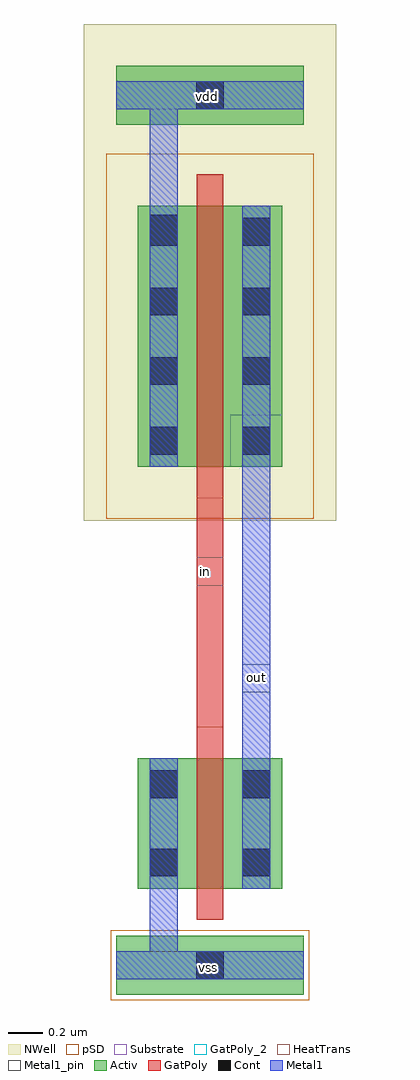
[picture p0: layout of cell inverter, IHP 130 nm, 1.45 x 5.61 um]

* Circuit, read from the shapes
.subckt inverter in out vdd vss
XM1 out in vss vss sg13_lv_nmos w=0.75u l=0.15u
XM2 out in vdd vdd sg13_lv_pmos w=1.5u l=0.15u
.ends

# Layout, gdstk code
import gdstk
lib = gdstk.Library(unit=1e-6, precision=5e-09)
def R(c, l, rs):  # rectangles x0, y0, x1, y1
    for r in rs: c.add(gdstk.rectangle(r[:2], r[2:], *l))
def A(c, l, x, y, w, h, nx, ny, dx, dy):  # array of equal rectangles
    R(c, l, [(x+i*dx, y+j*dy, x+i*dx+w, y+j*dy+h) for i in range(nx) for j in range(ny)])
Activ = (1, 0)
GatPoly = (5, 0)
GatPoly_2 = (5, 2)
Cont = (6, 0)
Metal1 = (8, 0)
Metal1_pin = (8, 2)
pSD = (14, 0)
NWell = (31, 0)
Substrate = (40, 0)
HeatTrans = (51, 0)

pmos_1 = lib.new_cell('pmos$1')
R(pmos_1, Activ, [(0,0,0.3,0.3), (0,0,0.83,1.5), (0.53,0,0.83,0.3)])
R(pmos_1, GatPoly, [(0.34,-0.18,0.49,1.68), (0.34,-0.18,0.49,1.68)])
A(pmos_1, Cont, 0.07, 0.07, 0.16, 0.16, 1, 4, 0, 0.4)
A(pmos_1, Cont, 0.6, 0.07, 0.16, 0.16, 1, 4, 0, 0.4)
R(pmos_1, Metal1, [(0.07,0,0.23,1.5), (0.07,0,0.23,1.5), (0.6,0,0.76,1.5), (0.6,0,0.76,1.5)])
R(pmos_1, pSD, [(-0.18,-0.3,1.01,1.8)])
R(pmos_1, NWell, [(-0.31,-0.31,1.14,1.81)])
R(pmos_1, Substrate, [(0.53,0,0.83,0.3)])
R(pmos_1, HeatTrans, [(0.34,-0.18,0.49,1.68)])
pmos_1.add(gdstk.Label('pmos', (0.415,0.75), layer=63, texttype=0))
pmos_1.add(gdstk.Label('pmos', (0.415,0.75), layer=51, texttype=0))

m1_cont1_pmos = lib.new_cell('M1_Cont1_PMOS')
R(m1_cont1_pmos, Activ, [(-0.535,-0.175,0.545,0.165)])
R(m1_cont1_pmos, Cont, [(-0.075,-0.085,0.085,0.075)])
R(m1_cont1_pmos, Metal1, [(-0.535,-0.085,0.545,0.075)])
R(m1_cont1_pmos, Metal1_pin, [(-0.535,-0.085,0.545,0.075)])
R(m1_cont1_pmos, NWell, [(-0.72,-0.415,0.73,0.405)])

m1_bulkcont1_pmos = lib.new_cell('M1_BulkCont1_PMOS')
r = gdstk.Reference(m1_cont1_pmos, (-0.015,-0.015)); r.repetition = gdstk.Repetition(1, 1, v1=(0,0), v2=(0,0)); m1_bulkcont1_pmos.add(r)

m1_cont1_nmos = lib.new_cell('M1_Cont1_NMOS')
R(m1_cont1_nmos, Activ, [(-0.53,-0.175,0.55,0.165)])
R(m1_cont1_nmos, Cont, [(-0.07,-0.085,0.09,0.075)])
R(m1_cont1_nmos, Metal1, [(-0.53,-0.085,0.55,0.075)])
R(m1_cont1_nmos, Metal1_pin, [(-0.53,-0.085,0.55,0.075)])
R(m1_cont1_nmos, pSD, [(-0.56,-0.205,0.58,0.195)])

m1_bulkcont1_nmos = lib.new_cell('M1_BulkCont1_NMOS')
r = gdstk.Reference(m1_cont1_nmos, (0.005,0.01)); r.repetition = gdstk.Repetition(1, 1, v1=(0,0), v2=(0,0)); m1_bulkcont1_nmos.add(r)

nmos = lib.new_cell('nmos')
R(nmos, Activ, [(0,0,0.3,0.3), (0,0,0.83,0.75), (0.53,0,0.83,0.3)])
R(nmos, GatPoly, [(0.34,-0.18,0.49,0.93)])
R(nmos, GatPoly_2, [(0.34,-0.18,0.49,0.93)])
R(nmos, Cont, [(0.07,0.07,0.23,0.23), (0.6,0.07,0.76,0.23), (0.07,0.52,0.23,0.68), (0.6,0.52,0.76,0.68)])
R(nmos, Metal1, [(0.07,0,0.23,0.75), (0.6,0,0.76,0.75)])
R(nmos, Metal1_pin, [(0.07,0,0.23,0.75), (0.6,0,0.76,0.75)])
R(nmos, HeatTrans, [(0.34,-0.18,0.49,0.93)])
nmos.add(gdstk.Label('nmos', (0.415,0.375), layer=63, texttype=0))
nmos.add(gdstk.Label('nmos', (0.415,0.375), layer=51, texttype=0))

inverter = lib.new_cell('inverter')
R(inverter, GatPoly, [(-0.075,-1.415,0.075,0.58)])
R(inverter, GatPoly_2, [(-0.075,-0.425,0.075,-0.26)])
R(inverter, Cont, [(-0.08,-2.685,0.08,-2.525), (-0.345,1.55,-0.185,1.71), (-0.08,2.315,0.08,2.475)])
R(inverter, Metal1, [(-0.345,-2.685,-0.185,-1.825), (0.185,-1.645,0.345,0.51), (-0.345,1.37,-0.185,2.475)])
R(inverter, Metal1_pin, [(-0.08,-2.685,0.08,-2.525), (0.185,-1.035,0.345,-0.875), (-0.08,2.315,0.08,2.475)])
inverter.add(gdstk.Reference(pmos_1, (-0.415,0.26)))
inverter.add(gdstk.Reference(m1_bulkcont1_pmos, (0.01,2.415)))
inverter.add(gdstk.Reference(m1_bulkcont1_nmos, (-0.015,-2.61)))
inverter.add(gdstk.Reference(nmos, (-0.415,-2.165)))
inverter.add(gdstk.Label('vdd', (-0.015,2.39), layer=8, texttype=2))
inverter.add(gdstk.Label('vss', (-0.01,-2.62), layer=8, texttype=2))
inverter.add(gdstk.Label('out', (0.27,-0.95), layer=8, texttype=2))
inverter.add(gdstk.Label('in', (-0.025,-0.34), layer=5, texttype=2))

lib.write_gds('inverter.gds')
